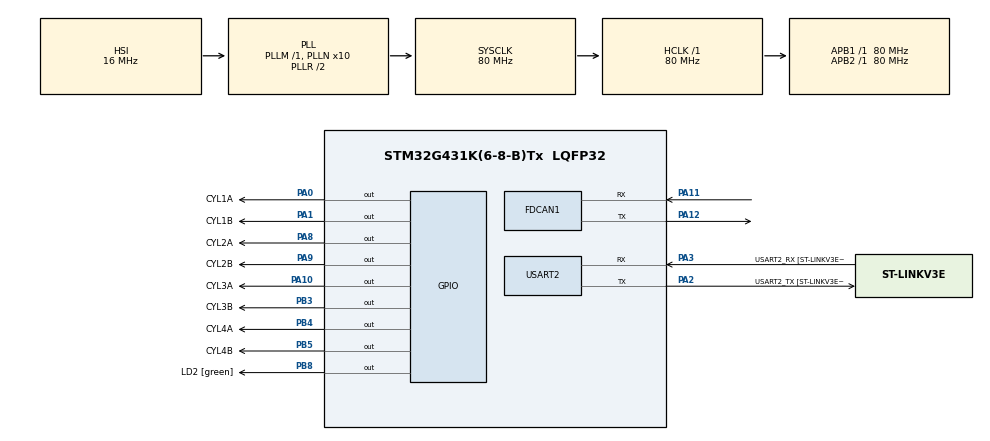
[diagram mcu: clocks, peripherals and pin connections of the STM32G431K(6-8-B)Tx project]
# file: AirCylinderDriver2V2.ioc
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FDCAN1.CalculateBaudRateNominal=1000000
FDCAN1.CalculateTimeBitNominal=1000
FDCAN1.CalculateTimeQuantumNominal=62.5
FDCAN1.DataPrescaler=1
FDCAN1.DataSyncJumpWidth=4
FDCAN1.DataTimeSeg1=5
FDCAN1.DataTimeSeg2=4
FDCAN1.NominalPrescaler=5
FDCAN1.NominalSyncJumpWidth=16
FDCAN1.NominalTimeSeg1=13
FDCAN1.StdFiltersNbr=1
Mcu.Family=STM32G4
Mcu.Name=STM32G431K(6-8-B)Tx
Mcu.Package=LQFP32
NVIC.FDCAN1_IT0_IRQn=true\:0\:0\:false\:false\:true\:true\:true\:true
NVIC.FDCAN1_IT1_IRQn=true\:0\:0\:false\:false\:true\:true\:true\:true
NVIC.PriorityGroup=NVIC_PRIORITYGROUP_4
PA0.GPIO_Label=CYL1A
PA0.Signal=GPIO_Output
PA1.GPIO_Label=CYL1B
PA1.Signal=GPIO_Output
PA10.GPIO_Label=CYL3A
PA10.Signal=GPIO_Output
PA11.Mode=FDCAN_Activate
PA11.Signal=FDCAN1_RX
PA12.Mode=FDCAN_Activate
PA12.Signal=FDCAN1_TX
PA13.GPIO_Label=T_SWDIO
PA13.Mode=Serial_Wire
PA13.Signal=SYS_JTMS-SWDIO
PA14.GPIO_Label=T_SWCLK
PA14.Mode=Serial_Wire
PA14.Signal=SYS_JTCK-SWCLK
PA2.GPIO_Label=USART2_TX [ST-LINKV3E_VCP_RX]
PA2.Mode=Asynchronous
PA2.Signal=USART2_TX
PA3.GPIO_Label=USART2_RX [ST-LINKV3E_VCP_TX]
PA3.Mode=Asynchronous
PA3.Signal=USART2_RX
PA8.GPIO_Label=CYL2A
PA8.Signal=GPIO_Output
PA9.GPIO_Label=CYL2B
PA9.Signal=GPIO_Output
PB3.GPIO_Label=CYL3B
PB3.Signal=GPIO_Output
PB4.GPIO_Label=CYL4A
PB4.Signal=GPIO_Output
PB5.GPIO_Label=CYL4B
PB5.Signal=GPIO_Output
PB8-BOOT0.GPIO_Label=LD2 [green]
PB8-BOOT0.Signal=GPIO_Output
ProjectManager.HeapSize=0x200
ProjectManager.StackSize=0x400
ProjectManager.TargetToolchain=STM32CubeIDE
RCC.ADC12Freq_Value=80000000
RCC.AHBFreq_Value=80000000
RCC.APB1Freq_Value=80000000
RCC.APB1TimFreq_Value=80000000
RCC.APB2Freq_Value=80000000
RCC.APB2TimFreq_Value=80000000
RCC.CortexFreq_Value=80000000
RCC.EXTERNAL_CLOCK_VALUE=12288000
RCC.HCLKFreq_Value=80000000
RCC.HSE_VALUE=8000000
RCC.HSI48_VALUE=48000000
RCC.HSI_VALUE=16000000
RCC.LSE_VALUE=32768
RCC.PLLN=10
RCC.SYSCLKFreq_VALUE=80000000
RCC.SYSCLKSource=RCC_SYSCLKSOURCE_PLLCLK
RCC.USBFreq_Value=80000000
RCC.VCOOutputFreq_Value=160000000
USART2.VirtualMode-Asynchronous=VM_ASYNC
USART2.WordLength=WORDLENGTH_8B
board=NUCLEO-G431KB

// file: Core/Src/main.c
/* USER CODE BEGIN Header */
/**
  ******************************************************************************
  * @file           : main.c
  * @brief          : Main program body
  ******************************************************************************
  * @attention
  *
  * Copyright (c) 2023 STMicroelectronics.
  * All rights reserved.
  *
  * This software is licensed under terms that can be found in the LICENSE file
  * in the root directory of this software component.
  * If no LICENSE file comes with this software, it is provided AS-IS.
  *
  ******************************************************************************
  */
/* USER CODE END Header */
#include "main.h"

/* USER CODE BEGIN Includes */
#include <stdio.h>
/* USER CODE END Includes */

/* USER CODE BEGIN PD */
#define CANID_FSTCYL 0x114
#define DELAYMS 500
#define CANID_CYL_BLARM_1 0x116
#define CANID_CYL_BLARM_2 0x117
/* USER CODE END PD */

FDCAN_HandleTypeDef hfdcan1;

UART_HandleTypeDef huart2;

/* USER CODE BEGIN PV */
GPIO_TypeDef *GPIOs[8] = {CYL1A_GPIO_Port, CYL1B_GPIO_Port, CYL2A_GPIO_Port, CYL2B_GPIO_Port, CYL3A_GPIO_Port, CYL3B_GPIO_Port, CYL4A_GPIO_Port, CYL4B_GPIO_Port};
uint16_t GPIOPins[8] = {CYL1A_Pin, CYL1B_Pin, CYL2A_Pin, CYL2B_Pin, CYL3A_Pin, CYL3B_Pin, CYL4A_Pin, CYL4B_Pin};
uint8_t CylFlag[4] = {};
uint8_t TxData[1];
uint8_t Flag = 0;
FDCAN_TxHeaderTypeDef TxHeader;

/* USER CODE END PV */

void SystemClock_Config(void);
static void MX_GPIO_Init(void);
static void MX_USART2_UART_Init(void);
static void MX_FDCAN1_Init(void);

/* USER CODE BEGIN 0 */
int _write(int file, char *ptr, int len)
{
	HAL_UART_Transmit(&huart2, (uint8_t *)ptr, len, 10);
	return len;
}

void CylN(uint8_t CylID){
	printf("N\r\n");
	HAL_GPIO_WritePin(GPIOs[CylID*2], GPIOPins[CylID*2], GPIO_PIN_RESET);
	HAL_GPIO_WritePin(GPIOs[CylID*2+1], GPIOPins[CylID*2+1], GPIO_PIN_RESET);
}

void CylPush(uint8_t CylID){
	printf("Push\r\n");
	HAL_GPIO_WritePin(GPIOs[CylID*2], GPIOPins[CylID*2], GPIO_PIN_SET);
	HAL_GPIO_WritePin(GPIOs[CylID*2+1], GPIOPins[CylID*2+1], GPIO_PIN_RESET);
}

void CylPull(uint8_t CylID){
	printf("Move B\r\n");
	HAL_GPIO_WritePin(GPIOs[CylID*2], GPIOPins[CylID*2], GPIO_PIN_RESET);
	HAL_GPIO_WritePin(GPIOs[CylID*2+1], GPIOPins[CylID*2+1], GPIO_PIN_SET);
}

void CylThrow(uint8_t CylID){
	printf("Throw\r\n");
	CylPush(CylID);
	HAL_Delay(DELAYMS);
	CylPull(CylID);
	HAL_Delay(DELAYMS);
	CylN(CylID);
	CylFlag[CylID]=0;
}

void CylRThrow(uint8_t CylID){
	printf("Throw\r\n");
	CylPull(CylID);
	HAL_Delay(DELAYMS);
	CylPush(CylID);
	HAL_Delay(DELAYMS);
	CylN(CylID);
	CylFlag[CylID]=0;
}

void CylStop(uint8_t CylID){
	HAL_GPIO_WritePin(GPIOs[CylID*2], GPIOPins[CylID*2], GPIO_PIN_SET);
	HAL_GPIO_WritePin(GPIOs[CylID*2+1], GPIOPins[CylID*2+1], GPIO_PIN_SET);
}

void CylDrive2(uint8_t CylID){
	printf("set\r\n");
	Flag = 1;
	CylPush(CylID);
	HAL_Delay(DELAYMS);
	CylPush(CylID+1);
	//HAL_Delay(DELAYMS/5);
	//CylN(CylID+1);
	HAL_Delay(DELAYMS);
	CylPull(CylID+1);
	HAL_Delay(DELAYMS);
	CylPull(CylID);
	HAL_Delay(DELAYMS);
	CylFlag[CylID] =0;

}

void CylDrive1(uint8_t CylID){
	printf("exception2\r\n");
	if(Flag == 1){
		CylPush(0);
		HAL_Delay(DELAYMS);
		CylPush(1);
		HAL_Delay(DELAYMS);
		Flag=0;
	}

	CylPull(CylID);
	CylFlag[CylID] = 2;
}

void CylDrive3(uint8_t CylID){
	printf("exception2\r\n");
	/*CylPush(CylID);
	HAL_Delay(200);
	TxHeader.Identifier == CANID_CYL_BLARM_2;
	TxData[0] = 2;
	if (HAL_FDCAN_AddMessageToTxFifoQ(&hfdcan1, &TxHeader, TxData) != HAL_OK) {
		Error_Handler();
	}*/
}

/* USER CODE END 0 */

int main(void)
{

  /* MCU Configuration--------------------------------------------------------*/

  /* Reset of all peripherals, Initializes the Flash interface and the Systick. */
  HAL_Init();

  /* Configure the system clock */
  SystemClock_Config();

  /* Initialize all configured peripherals */
  MX_GPIO_Init();
  MX_USART2_UART_Init();
  MX_FDCAN1_Init();

  /* Infinite loop */
  /* USER CODE BEGIN WHILE */
  while (1)
  {
	  for(uint8_t i=0; i<4; i++){

		  switch(CylFlag[i]){

		  		case 0:
		  			CylN(i);
		  			break;

		  		case 1:
		  			CylPush(i);
		  			break;

		  		case 2:
		  			CylPull(i);
		  			break;

		  		case 3:
		  			CylThrow(i);
		  			break;

		  		case 4:
		  			CylRThrow(i);
		  			break;
		  		case 5:
		  			break;
		  		case 6:
		  			CylDrive1(i);
		  			break;
		  		case 7:
		  			CylDrive2(i);
		  			break;
		  		case 8:
		  			CylDrive3(i);
		  			break;
		  		}

	  }

	  HAL_Delay(15);
    /* USER CODE END WHILE */

  }
}

void SystemClock_Config(void)
{
  RCC_OscInitTypeDef RCC_OscInitStruct = {0};
  RCC_ClkInitTypeDef RCC_ClkInitStruct = {0};

  /** Configure the main internal regulator output voltage
  */
  HAL_PWREx_ControlVoltageScaling(PWR_REGULATOR_VOLTAGE_SCALE1);

  /** Initializes the RCC Oscillators according to the specified parameters
  * in the RCC_OscInitTypeDef structure.
  */
  RCC_OscInitStruct.OscillatorType = RCC_OSCILLATORTYPE_HSI;
  RCC_OscInitStruct.HSIState = RCC_HSI_ON;
  RCC_OscInitStruct.HSICalibrationValue = RCC_HSICALIBRATION_DEFAULT;
  RCC_OscInitStruct.PLL.PLLState = RCC_PLL_ON;
  RCC_OscInitStruct.PLL.PLLSource = RCC_PLLSOURCE_HSI;
  RCC_OscInitStruct.PLL.PLLM = RCC_PLLM_DIV1;
  RCC_OscInitStruct.PLL.PLLN = 10;
  RCC_OscInitStruct.PLL.PLLP = RCC_PLLP_DIV2;
  RCC_OscInitStruct.PLL.PLLQ = RCC_PLLQ_DIV2;
  RCC_OscInitStruct.PLL.PLLR = RCC_PLLR_DIV2;
  if (HAL_RCC_OscConfig(&RCC_OscInitStruct) != HAL_OK)
  {
    Error_Handler();
  }

  /** Initializes the CPU, AHB and APB buses clocks
  */
  RCC_ClkInitStruct.ClockType = RCC_CLOCKTYPE_HCLK|RCC_CLOCKTYPE_SYSCLK
                              |RCC_CLOCKTYPE_PCLK1|RCC_CLOCKTYPE_PCLK2;
  RCC_ClkInitStruct.SYSCLKSource = RCC_SYSCLKSOURCE_PLLCLK;
  RCC_ClkInitStruct.AHBCLKDivider = RCC_SYSCLK_DIV1;
  RCC_ClkInitStruct.APB1CLKDivider = RCC_HCLK_DIV1;
  RCC_ClkInitStruct.APB2CLKDivider = RCC_HCLK_DIV1;

  if (HAL_RCC_ClockConfig(&RCC_ClkInitStruct, FLASH_LATENCY_2) != HAL_OK)
  {
    Error_Handler();
  }
}

static void MX_FDCAN1_Init(void)
{

  hfdcan1.Instance = FDCAN1;
  hfdcan1.Init.ClockDivider = FDCAN_CLOCK_DIV1;
  hfdcan1.Init.FrameFormat = FDCAN_FRAME_CLASSIC;
  hfdcan1.Init.Mode = FDCAN_MODE_NORMAL;
  hfdcan1.Init.AutoRetransmission = DISABLE;
  hfdcan1.Init.TransmitPause = DISABLE;
  hfdcan1.Init.ProtocolException = DISABLE;
  hfdcan1.Init.NominalPrescaler = 5;
  hfdcan1.Init.NominalSyncJumpWidth = 16;
  hfdcan1.Init.NominalTimeSeg1 = 13;
  hfdcan1.Init.NominalTimeSeg2 = 2;
  hfdcan1.Init.DataPrescaler = 1;
  hfdcan1.Init.DataSyncJumpWidth = 4;
  hfdcan1.Init.DataTimeSeg1 = 5;
  hfdcan1.Init.DataTimeSeg2 = 4;
  hfdcan1.Init.StdFiltersNbr = 1;
  hfdcan1.Init.ExtFiltersNbr = 0;
  hfdcan1.Init.TxFifoQueueMode = FDCAN_TX_FIFO_OPERATION;
  if (HAL_FDCAN_Init(&hfdcan1) != HAL_OK)
  {
    Error_Handler();
  }
  /* USER CODE BEGIN FDCAN1_Init 2 */
  FDCAN_FilterTypeDef sFilterConfig;
  	sFilterConfig.IdType = FDCAN_STANDARD_ID;
  	sFilterConfig.FilterIndex = 0;
  	sFilterConfig.FilterType = FDCAN_FILTER_MASK;
  	sFilterConfig.FilterConfig = FDCAN_FILTER_TO_RXFIFO0;
  	sFilterConfig.FilterID1 = CANID_FSTCYL;
  	sFilterConfig.FilterID2 = 0x7FC;

  	if (HAL_FDCAN_ConfigFilter(&hfdcan1, &sFilterConfig) != HAL_OK) {
  		Error_Handler();
  	}
  	if (HAL_FDCAN_ConfigGlobalFilter(&hfdcan1, FDCAN_REJECT, FDCAN_REJECT, FDCAN_FILTER_REMOTE, FDCAN_FILTER_REMOTE) != HAL_OK) {
  		Error_Handler();
  	}

  	if (HAL_FDCAN_Start(&hfdcan1) != HAL_OK) {
  		Error_Handler();
  	}
  	if (HAL_FDCAN_ActivateNotification(&hfdcan1, FDCAN_IT_RX_FIFO0_NEW_MESSAGE, 0) != HAL_OK) {
  	  Error_Handler();
  	}

  /* USER CODE END FDCAN1_Init 2 */

}

static void MX_USART2_UART_Init(void)
{

  huart2.Instance = USART2;
  huart2.Init.BaudRate = 115200;
  huart2.Init.WordLength = UART_WORDLENGTH_8B;
  huart2.Init.StopBits = UART_STOPBITS_1;
  huart2.Init.Parity = UART_PARITY_NONE;
  huart2.Init.Mode = UART_MODE_TX_RX;
  huart2.Init.HwFlowCtl = UART_HWCONTROL_NONE;
  huart2.Init.OverSampling = UART_OVERSAMPLING_16;
  huart2.Init.OneBitSampling = UART_ONE_BIT_SAMPLE_DISABLE;
  huart2.Init.ClockPrescaler = UART_PRESCALER_DIV1;
  huart2.AdvancedInit.AdvFeatureInit = UART_ADVFEATURE_NO_INIT;
  if (HAL_UART_Init(&huart2) != HAL_OK)
  {
    Error_Handler();
  }
  if (HAL_UARTEx_SetTxFifoThreshold(&huart2, UART_TXFIFO_THRESHOLD_1_8) != HAL_OK)
  {
    Error_Handler();
  }
  if (HAL_UARTEx_SetRxFifoThreshold(&huart2, UART_RXFIFO_THRESHOLD_1_8) != HAL_OK)
  {
    Error_Handler();
  }
  if (HAL_UARTEx_DisableFifoMode(&huart2) != HAL_OK)
  {
    Error_Handler();
  }
  /* USER CODE BEGIN USART2_Init 2 */
  setbuf(stdout, NULL);
  /* USER CODE END USART2_Init 2 */

}

static void MX_GPIO_Init(void)
{
  GPIO_InitTypeDef GPIO_InitStruct = {0};

  /* GPIO Ports Clock Enable */
  __HAL_RCC_GPIOA_CLK_ENABLE();
  __HAL_RCC_GPIOB_CLK_ENABLE();

  /*Configure GPIO pin Output Level */
  HAL_GPIO_WritePin(GPIOA, CYL1A_Pin|CYL1B_Pin|CYL2A_Pin|CYL2B_Pin
                          |CYL3A_Pin, GPIO_PIN_RESET);

  /*Configure GPIO pin Output Level */
  HAL_GPIO_WritePin(GPIOB, CYL3B_Pin|CYL4A_Pin|CYL4B_Pin|LD2_Pin, GPIO_PIN_RESET);

  /*Configure GPIO pins : CYL1A_Pin CYL1B_Pin CYL2A_Pin CYL2B_Pin
                           CYL3A_Pin */
  GPIO_InitStruct.Pin = CYL1A_Pin|CYL1B_Pin|CYL2A_Pin|CYL2B_Pin
                          |CYL3A_Pin;
  GPIO_InitStruct.Mode = GPIO_MODE_OUTPUT_PP;
  GPIO_InitStruct.Pull = GPIO_NOPULL;
  GPIO_InitStruct.Speed = GPIO_SPEED_FREQ_LOW;
  HAL_GPIO_Init(GPIOA, &GPIO_InitStruct);

  /*Configure GPIO pins : CYL3B_Pin CYL4A_Pin CYL4B_Pin LD2_Pin */
  GPIO_InitStruct.Pin = CYL3B_Pin|CYL4A_Pin|CYL4B_Pin|LD2_Pin;
  GPIO_InitStruct.Mode = GPIO_MODE_OUTPUT_PP;
  GPIO_InitStruct.Pull = GPIO_NOPULL;
  GPIO_InitStruct.Speed = GPIO_SPEED_FREQ_LOW;
  HAL_GPIO_Init(GPIOB, &GPIO_InitStruct);

}

/* USER CODE BEGIN 4 */
void HAL_FDCAN_RxFifo0Callback(FDCAN_HandleTypeDef *hfdcan, uint32_t RxFifo0ITs) {
	FDCAN_RxHeaderTypeDef RxHeader;
	uint8_t RxData[1];
	uint8_t CylID;

	if (hfdcan == &hfdcan1) {
		printf("Get message\r\n");
		if (HAL_FDCAN_GetRxMessage(hfdcan, FDCAN_RX_FIFO0, &RxHeader, RxData) != HAL_OK) {
			Error_Handler();
		}
		CylID = RxHeader.Identifier - CANID_FSTCYL;
		CylFlag[CylID] = RxData[0];

		//HAL_GPIO_WritePin(GPIOs[CylID*2], GPIOPins[CylID*2], RxData[0]);

		//printf("Motor%x:%d\r\n", RxHeader.Identifier- 0x201, actMotorVel[MOTOR1]); //index is motorID-201 (0x201 - 0x201 =0)
		//Motor%x:RxHeader.Identifier- 0x201,
	}
}
/* USER CODE END 4 */

void Error_Handler(void)
{
  __disable_irq();
  while (1)
  {
  }
}
